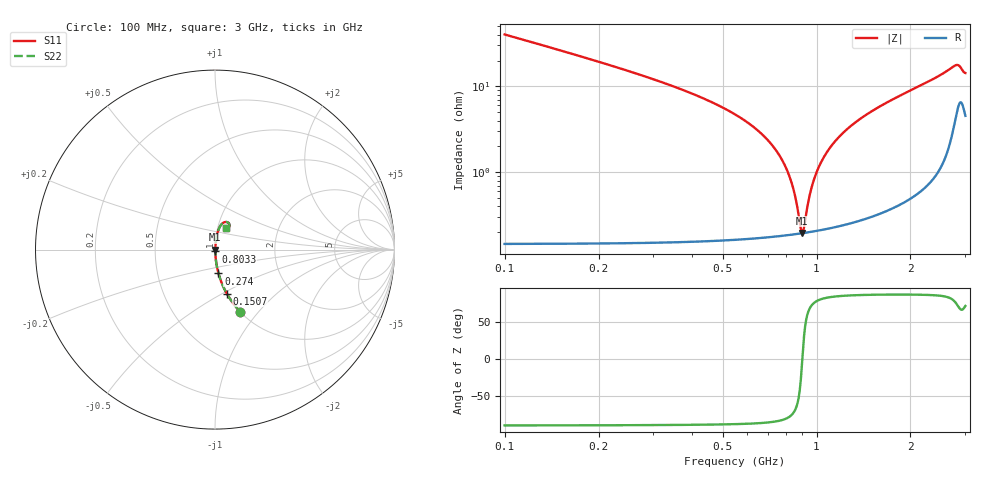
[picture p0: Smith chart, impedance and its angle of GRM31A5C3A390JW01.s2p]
!Murata Part Number: GRM31A5C3A390JW01
!These Parameters are Measured in Series Mode Connection
!Data Generated on Mar 30, 2021
!  o--ll--o
!Port1  Port2
!  o------o
!Operation Temp=25[degC], DC Bias Voltage=0[V]
!Freq. Start=100[MHz] Stop=3[GHz] 401[Steps]
# Hz S RI R 50
!Freq.(Hz) S11(Real) S11(Imag) S21(Real) S21(Imag) S12(Real) S12(Imag) S22(Real) S22(Imag)
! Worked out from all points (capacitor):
!   401 points, 100 MHz to 3 GHz, reference 50 ohm
!   read as one part in series: C = 39 pF near 114.5 MHz
!   lowest |Z| = 197 mohm at 897.5 MHz (marker M1)
!   series resonance near 900.4 MHz, so ESL is about 800 pH
!   S11 on the Smith chart (normalised r, x): 100 MHz: 1.00, -0.81; 150.8 MHz: 1.00, -0.53; 274 MHz: 1.00, -0.27; 803.2 MHz: 1.00, -0.02; 3 GHz: 1.09, +0.27
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1e8  0.1407 -0.3459  0.8593 0.3459  0.8593 0.3459  0.1407 -0.3459
1.5075e8  0.066 -0.2455  0.934 0.2455  0.934 0.2455  0.066 -0.2455
2.74e8  0.0194 -0.1326  0.9806 0.1326  0.9806 0.1326  0.0194 -0.1326
5.8575e8  0.00329 -0.0403  0.9967 0.0403  0.9967 0.0403  0.00329 -0.0403
7.1625e8  0.0022 -0.0211  0.9978 0.0211  0.9978 0.0211  0.0022 -0.0211
8.0325e8  0.00195 -0.0105  0.998 0.0105  0.998 0.0105  0.00195 -0.0105
8.395e8  0.00192 -0.00643  0.9981 0.00643  0.9981 0.00643  0.00192 -0.00643
8.6125e8  0.00192 -0.00408  0.9981 0.00408  0.9981 0.00408  0.00192 -0.00408
8.83e8  0.00193 -0.00179  0.9981 0.00179  0.9981 0.00179  0.00193 -0.00179
8.975e8  0.00194 -0.000293  0.9981 0.000293  0.9981 0.000293  0.00194 -0.000293
9.12e8  0.00196 0.00118  0.998 -0.00118  0.998 -0.00118  0.00196 0.00118
9.4825e8  0.00203 0.00478  0.998 -0.00478  0.998 -0.00478  0.00203 0.00478
9.7725e8  0.0021 0.00758  0.9979 -0.00758  0.9979 -0.00758  0.0021 0.00758
1.02075e9  0.00223 0.0116  0.9978 -0.0116  0.9978 -0.0116  0.00223 0.0116
1.0715e9  0.00244 0.0162  0.9976 -0.0162  0.9976 -0.0162  0.00244 0.0162
1.15125e9  0.00283 0.0231  0.9972 -0.0231  0.9972 -0.0231  0.00283 0.0231
1.26e9  0.00352 0.0321  0.9965 -0.0321  0.9965 -0.0321  0.00352 0.0321
1.55e9  0.00612 0.0544  0.9939 -0.0544  0.9939 -0.0544  0.00612 0.0544
2.03575e9  0.0135 0.0909  0.9865 -0.0909  0.9865 -0.0909  0.0135 0.0909
2.5215e9  0.03 0.1327  0.97 -0.1327  0.97 -0.1327  0.03 0.1327
2.8115e9  0.0709 0.1518  0.9291 -0.1518  0.9291 -0.1518  0.0709 0.1518
3e9  0.0594 0.1224  0.9406 -0.1224  0.9406 -0.1224  0.0594 0.1224
